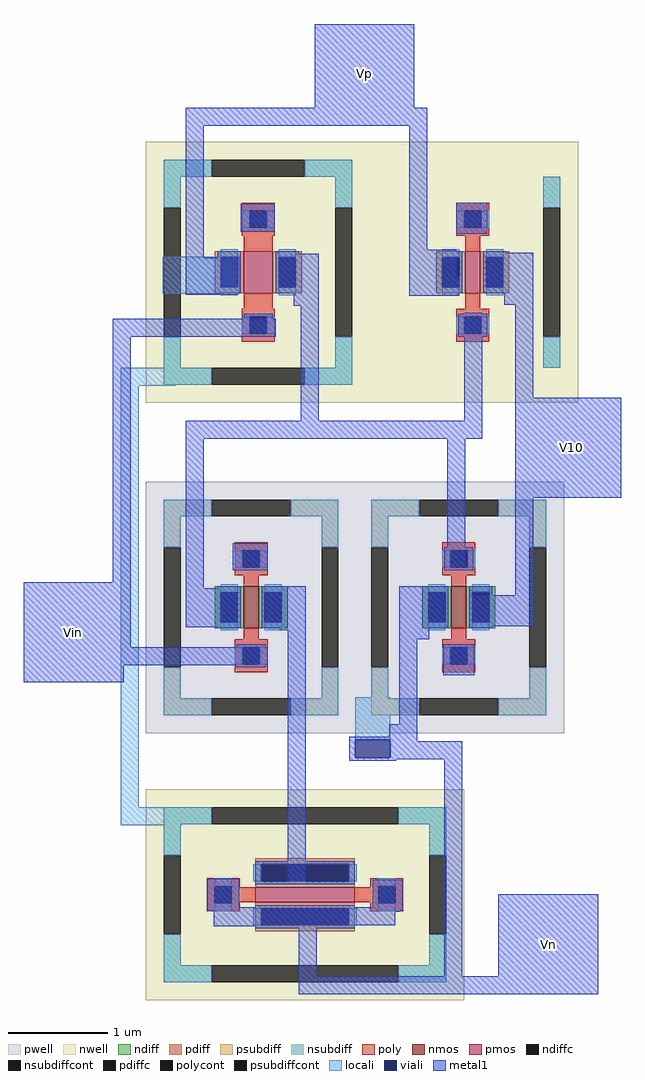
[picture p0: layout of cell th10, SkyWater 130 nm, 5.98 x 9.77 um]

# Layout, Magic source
magic
tech sky130A
magscale 1 2
<< locali >>
rect 672 250 826 324
rect 588 66 698 102
rect 588 -778 624 66
rect 1058 -643 1128 -558
rect 588 -814 710 -778
<< viali >>
rect 1058 -679 1128 -643
<< metal1 >>
rect 976 622 1176 790
rect 718 586 1202 622
rect 718 322 754 586
rect 828 374 896 430
rect 1166 338 1202 586
rect 1260 370 1322 432
rect 718 286 822 322
rect 718 284 782 286
rect 786 284 822 286
rect 718 248 822 284
rect 904 252 984 330
rect 934 226 984 252
rect 1166 282 1260 338
rect 1166 246 1266 282
rect 1320 256 1414 332
rect 1356 228 1414 256
rect 572 164 898 200
rect 572 -328 608 164
rect 948 -4 984 226
rect 1276 -4 1312 212
rect 394 -458 608 -328
rect 718 -40 1312 -4
rect 1378 42 1414 228
rect 718 -340 754 -40
rect 812 -304 882 -250
rect 1242 -304 1278 -40
rect 1378 -158 1590 42
rect 718 -376 824 -340
rect 718 -382 786 -376
rect 788 -382 824 -376
rect 718 -418 824 -382
rect 878 -414 958 -336
rect 906 -424 958 -414
rect 394 -494 882 -458
rect 394 -528 594 -494
rect 774 -978 810 -922
rect 922 -926 958 -424
rect 1146 -418 1236 -336
rect 1378 -354 1414 -158
rect 1292 -416 1414 -354
rect 1146 -442 1206 -418
rect 1146 -612 1182 -442
rect 1234 -514 1296 -452
rect 1126 -637 1182 -612
rect 1046 -643 1182 -637
rect 1046 -679 1058 -643
rect 1128 -646 1182 -643
rect 1128 -679 1272 -646
rect 1046 -682 1272 -679
rect 1046 -685 1140 -682
rect 1102 -978 1138 -924
rect 774 -1014 1138 -978
rect 774 -1016 980 -1014
rect 944 -1116 980 -1016
rect 1236 -1116 1272 -682
rect 1344 -1116 1544 -952
rect 944 -1152 1544 -1116
use sky130_fd_pr__pfet_01v8_XGS3BL  XM0
transform 0 -1 957 1 0 -953
box -211 -319 211 319
use sky130_fd_pr__nfet_01v8_L7T3GD  XM1
transform 1 0 849 0 1 -378
box -211 -252 211 252
use sky130_fd_pr__pfet_01v8_QPDSQG  XM2
transform 1 0 863 0 1 293
box -225 -261 225 261
use sky130_fd_pr__pfet_01v8_M479BZ  XM3
transform 1 0 1293 0 1 293
box -211 -261 211 261
use sky130_fd_pr__nfet_01v8_L7T3GD  XM4
transform 1 0 1265 0 1 -378
box -211 -252 211 252
<< labels >>
flabel metal1 394 -528 594 -328 0 FreeSans 256 0 0 0 Vin
port 2 nsew
flabel metal1 976 590 1176 790 0 FreeSans 256 0 0 0 Vp
port 0 nsew
flabel metal1 1390 -158 1590 42 0 FreeSans 256 0 0 0 V10
port 1 nsew
flabel metal1 1344 -1152 1544 -952 0 FreeSans 256 0 0 0 Vn
port 3 nsew
<< end >>

# cell sky130_fd_pr__pfet_01v8_XGS3BL: kit device sky130_fd_pr__pfet_01v8, w 1.0 l 0.15 m 1 nf 1 diffcov 100 polycov 100 guard 1 glc 1 grc 1 gtc 1 gbc 1 tbcov 100 rlcov 100 topc 1 botc 1 poverlap 0 doverlap 1 lmin 0.15 wmin 0.42 compatible {sky130_fd_pr__pfet_01v8 sky130_fd_pr__pfet_01v8_lvt sky130_fd_pr__pfet_01v8_hvt sky130_fd_pr__pfet_g5v0d10v5} full_metal 1 viasrc 100 viadrn 100 viagate 100 viagb 0 viagr 0 viagl 0 viagt 0

# cell sky130_fd_pr__nfet_01v8_L7T3GD: kit device sky130_fd_pr__nfet_01v8, w 0.42 l 0.15 m 1 nf 1 diffcov 100 polycov 100 guard 1 glc 1 grc 1 gtc 1 gbc 1 tbcov 100 rlcov 100 topc 1 botc 1 poverlap 0 doverlap 1 lmin 0.15 wmin 0.42 compatible {sky130_fd_pr__nfet_01v8 sky130_fd_pr__nfet_01v8_lvt sky130_fd_bs_flash__special_sonosfet_star sky130_fd_pr__nfet_g5v0d10v5 sky130_fd_pr__nfet_05v0_nvt sky130_fd_pr__nfet_03v3_nvt} full_metal 1 viasrc 100 viadrn 100 viagate 100 viagb 0 viagr 0 viagl 0 viagt 0

# cell sky130_fd_pr__pfet_01v8_QPDSQG: kit device sky130_fd_pr__pfet_01v8, w 0.42 l 0.293 m 1 nf 1 diffcov 100 polycov 100 guard 1 glc 1 grc 1 gtc 1 gbc 1 tbcov 100 rlcov 100 topc 1 botc 1 poverlap 0 doverlap 1 lmin 0.15 wmin 0.42 compatible {sky130_fd_pr__pfet_01v8 sky130_fd_pr__pfet_01v8_lvt sky130_fd_pr__pfet_01v8_hvt sky130_fd_pr__pfet_g5v0d10v5} full_metal 1 viasrc 100 viadrn 100 viagate 100 viagb 0 viagr 0 viagl 0 viagt 0

# cell sky130_fd_pr__pfet_01v8_M479BZ: kit device sky130_fd_pr__pfet_01v8, w 0.42 l 0.15 m 1 nf 1 diffcov 100 polycov 100 guard 1 glc 1 grc 1 gtc 1 gbc 1 tbcov 100 rlcov 100 topc 1 botc 1 poverlap 0 doverlap 1 lmin 0.15 wmin 0.42 compatible {sky130_fd_pr__pfet_01v8 sky130_fd_pr__pfet_01v8_lvt sky130_fd_pr__pfet_01v8_hvt sky130_fd_pr__pfet_g5v0d10v5} full_metal 1 viasrc 100 viadrn 100 viagate 100 viagb 0 viagr 0 viagl 0 viagt 0
